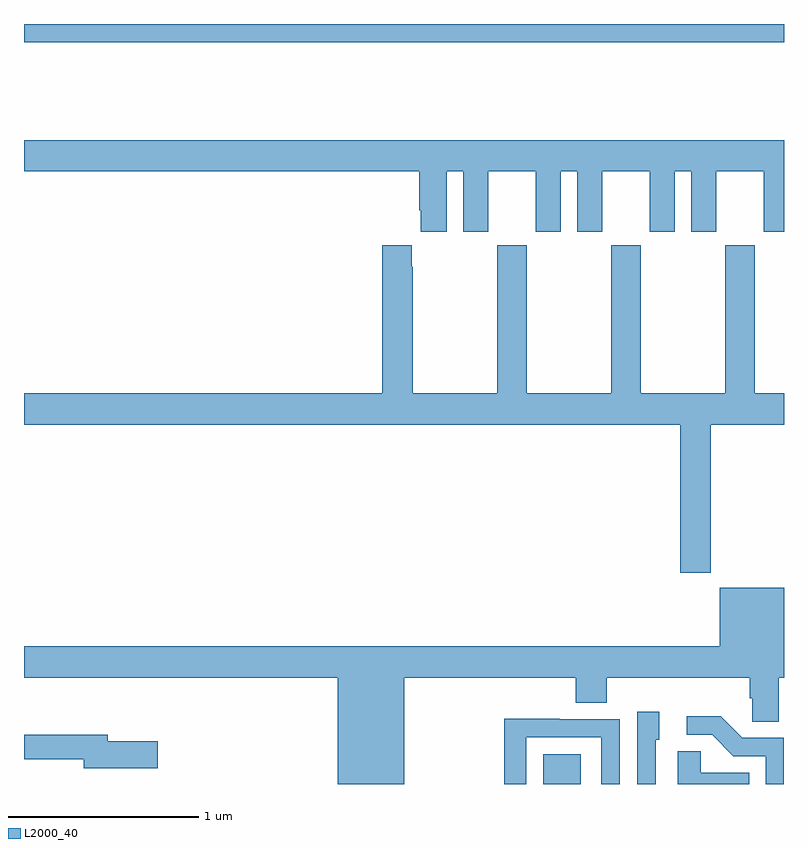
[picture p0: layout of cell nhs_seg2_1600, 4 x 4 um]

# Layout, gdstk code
import gdstk
lib = gdstk.Library(unit=1e-6, precision=1e-09)
def R(c, l, rs):  # rectangles x0, y0, x1, y1
    for r in rs: c.add(gdstk.rectangle(r[:2], r[2:], *l))
def P(c, l, *ps):  # polygons
    for p in ps: c.add(gdstk.Polygon(p, *l))
L2000_40 = (2000, 40)

nhs_seg2_1600 = lib.new_cell('nhs_seg2_1600')
R(nhs_seg2_1600, L2000_40, [(197.732,589.8,197.929,589.957), (195,593.704,199,593.8)])
P(nhs_seg2_1600, L2000_40, [(195,593.024),(197.081,593.024),(197.081,592.819),(197.087,592.819),(197.087,592.707),(197.224,592.707),(197.224,593.024),(197.312,593.024),(197.312,592.707),(197.443,592.707),(197.443,593.024),(197.693,593.024),(197.693,592.707),(197.824,592.707),(197.824,593.024),(197.912,593.024),(197.912,592.707),(198.043,592.707),(198.043,593.024),(198.293,593.024),(198.293,592.707),(198.424,592.707),(198.424,593.024),(198.512,593.024),(198.512,592.707),(198.643,592.707),(198.643,593.024),(198.893,593.024),(198.893,592.707),(199,592.707),(199,593.188),(195,593.188)],
  [(198.615,591.692),(199,591.692),(199,591.856),(198.846,591.856),(198.846,592.636),(198.691,592.636),(198.691,591.856),(198.246,591.856),(198.246,592.636),(198.091,592.636),(198.091,591.856),(197.646,591.856),(197.646,592.636),(197.491,592.636),(197.491,591.856),(197.046,591.856),(197.046,592.523),(197.041,592.523),(197.041,592.636),(196.886,592.636),(196.886,591.856),(195,591.856),(195,591.692),(198.455,591.692),(198.455,590.913),(198.615,590.913)],
  [(197.002,590.36),(197.903,590.36),(197.903,590.227),(198.068,590.227),(198.068,590.36),(198.821,590.36),(198.821,590.251),(198.834,590.251),(198.834,590.128),(198.973,590.128),(198.973,590.36),(199,590.36),(199,590.833),(198.662,590.833),(198.662,590.524),(195,590.524),(195,590.36),(196.652,590.36),(196.652,589.8),(197.002,589.8)],
  [(198.324,590.034),(198.343,590.034),(198.343,590.179),(198.228,590.179),(198.228,589.8),(198.324,589.8)],
  [(198.999,590.043),(198.78,590.043),(198.667,590.156),(198.489,590.156),(198.489,590.058),(198.623,590.058),(198.734,589.947),(198.903,589.947),(198.903,589.8),(198.999,589.8)],
  [(197.643,590.046),(198.039,590.046),(198.039,589.8),(198.135,589.8),(198.135,590.142),(197.819,590.142),(197.819,590.144),(197.527,590.144),(197.527,589.8),(197.643,589.8)],
  [(195.703,590.025),(195.442,590.025),(195.442,590.059),(195,590.059),(195,589.93),(195.314,589.93),(195.314,589.883),(195.703,589.883)],
  [(198.818,589.858),(198.561,589.858),(198.561,589.973),(198.44,589.973),(198.44,589.8),(198.818,589.8)])

lib.write_gds('nhs_seg2_1600.gds')
